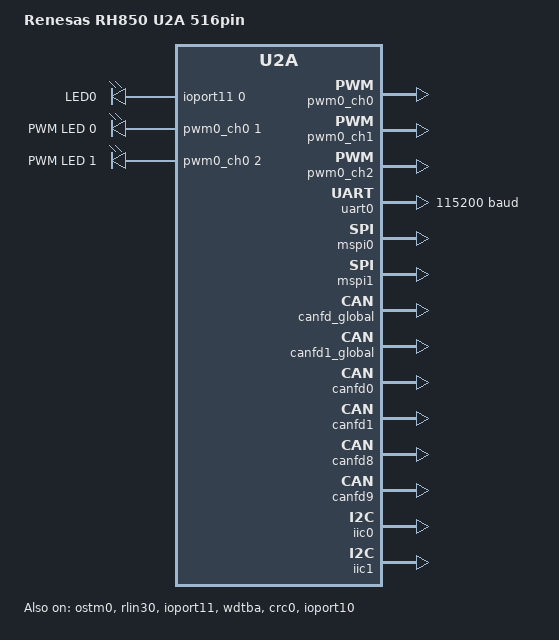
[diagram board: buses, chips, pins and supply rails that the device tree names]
/*
 * Copyright (c) 2026 Renesas Electronics Corporation
 * SPDX-License-Identifier: Apache-2.0
 */

/dts-v1/;

#include <rh850/renesas/rh850u2a/r7f702300.dtsi>
#include <dt-bindings/gpio/gpio.h>
#include <dt-bindings/pwm/pwm.h>

#include "pb_rh850u2a_516pin-pinctrl.dtsi"

/ {
	model = "Renesas RH850 U2A 516pin";
	compatible = "renesas,pb-rh850u2a-516pin", "renesas,u2a";

	chosen {
		zephyr,console = &uart0;
		zephyr,shell-uart = &uart0;
		zephyr,sram = &sram0;
		zephyr,flash = &flash0;
		zephyr,system-timer = &ostm0;
		zephyr,crc = &crc0;
		zephyr,canbus = &canfd0;
	};

	aliases {
		led0 = &led0;
		watchdog0 = &wdtba;
		pwm-led0 = &pwm_led_0;
		pwm-led1 = &pwm_led_1;
	};

	leds {
		compatible = "gpio-leds";

		led0: led0 {
			gpios = <&ioport11 0 GPIO_ACTIVE_HIGH>;
			label = "LED0";
		};
	};

	pwmleds {
		compatible = "pwm-leds";

		pwm_led_0: pwm_led_0 {
			pwms = <&pwm0_ch0 1 PWM_MSEC(20) PWM_POLARITY_NORMAL>;
			label = "PWM LED 0";
		};

		pwm_led_1: pwm_led_1 {
			pwms = <&pwm0_ch0 2 PWM_MSEC(20) PWM_POLARITY_INVERTED>;
			label = "PWM LED 1";
		};
	};
};

&pwm0_ch0 {
	pinctrl-0 = <&pwm_default>;
	pinctrl-names = "default";
	status = "okay";
};

&pwm0_ch1 {
	status = "okay";
};

&pwm0_ch2 {
	status = "okay";
};

&taud3p0 {
	pinctrl-0 = <&taud3p0_default>;
	pinctrl-names = "default";
	status = "disabled";
};

&taud3p1 {
	pinctrl-0 = <&taud3p1_default>;
	pinctrl-names = "default";
	status = "disabled";
};

&ostm0 {
	status = "okay";

	timer {
		status = "okay";
	};
};

&rlin30 {
	pinctrl-0 = <&rlin30_default>;
	pinctrl-names = "default";
	status = "okay";

	uart0: uart {
		current-speed = <115200>;
		status = "okay";
	};
};

&mspi0 {
	pinctrl-0 = <&mspi0_default>;
	pinctrl-names = "default";
	channel = <0>;
	status = "okay";
};

&mspi1 {
	pinctrl-0 = <&mspi1_default>;
	pinctrl-names = "default";
	channel = <0>;
	status = "okay";
};

&canfd_global {
	status = "okay";
};

&canfd1_global {
	status = "okay";
};

&canfd0 {
	pinctrl-0 = <&canfd0_default>;
	pinctrl-names = "default";
	status = "okay";
	rx-max-filters = <128>;
};

&canfd1 {
	pinctrl-0 = <&canfd1_default>;
	pinctrl-names = "default";
	status = "okay";
	rx-max-filters = <128>;
};

&canfd8 {
	pinctrl-0 = <&canfd8_default>;
	pinctrl-names = "default";
	status = "okay";
	rx-max-filters = <128>;
};

&canfd9 {
	pinctrl-0 = <&canfd9_default>;
	pinctrl-names = "default";
	status = "okay";
	rx-max-filters = <128>;
};

&ioport11 {
	status = "okay";
};

&iic0 {
	pinctrl-0 = <&iic0_default>;
	pinctrl-names = "default";
	status = "okay";
};

&iic1 {
	pinctrl-0 = <&iic1_default>;
	pinctrl-names = "default";
	status = "okay";
};

&wdtba {
	status = "okay";
};

&crc0 {
	status = "okay";
};

&ioport10 {
	status = "okay";
};

&sent1 {
	pinctrl-0 = <&sent1_default>;
	pinctrl-names = "default";
	status = "disabled";

	channel@0 {
		status = "disabled";
	};
};
